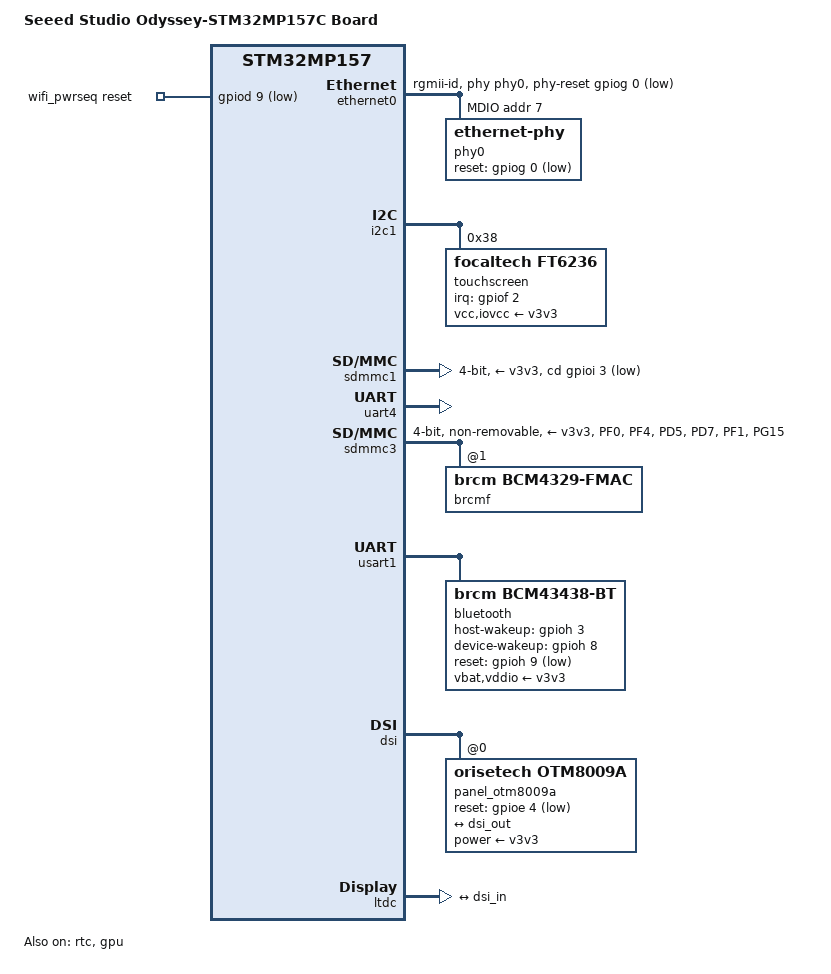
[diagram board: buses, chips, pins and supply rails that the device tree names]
// linux/arch/arm/boot/dts/st/stm32mp157c-odyssey.dts
// SPDX-License-Identifier: (GPL-2.0+ OR BSD-3-Clause)
/*
 * Copyright (C) 2020 Marcin Sloniewski <marcin.sloniewski@gmail.com>.
 */

/dts-v1/;

#include "stm32mp157c-odyssey-som.dtsi"
#include "stm32mp157c-odyssey-scmi.dtsi"
#include <dt-bindings/rtc/rtc-stm32.h>

/ {
	model = "Seeed Studio Odyssey-STM32MP157C Board";
	compatible = "seeed,stm32mp157c-odyssey",
		     "seeed,stm32mp157c-odyssey-som", "st,stm32mp157";

	aliases {
		ethernet0 = &ethernet0;
		serial0 = &uart4;
		serial1 = &usart1;
	};

	chosen {
		#address-cells = <1>;
		#size-cells = <1>;
		ranges;
		stdout-path = "serial0:115200n8";

		framebuffer {
			compatible = "simple-framebuffer";
			clocks = <&rcc LTDC_PX>, <&rcc DSI>, <&rcc DSI_PX>;
			status = "disabled";
		};
	};

	wifi_pwrseq: wifi-pwrseq {
		compatible = "mmc-pwrseq-simple";
		reset-gpios = <&gpiod 9 GPIO_ACTIVE_LOW>;
		post-power-on-delay-ms = <1>;
		status = "okay";
	};
};

&dcmi {
	pinctrl-names = "default", "sleep";
	pinctrl-0 = <&dcmi_pins_b>;
	pinctrl-1 = <&dcmi_sleep_pins_b>;
};

&ethernet0 {
	status = "okay";
	pinctrl-0 = <&ethernet0_rgmii_pins_a>;
	pinctrl-1 = <&ethernet0_rgmii_sleep_pins_a>;
	pinctrl-names = "default", "sleep";
	phy-mode = "rgmii-id";
	max-speed = <1000>;
	phy-handle = <&phy0>;
	st,eth-clk-sel;
	phy-reset-gpios = <&gpiog 0 GPIO_ACTIVE_LOW>;

	mdio0 {
		status = "okay";
		#address-cells = <1>;
		#size-cells = <0>;
		compatible = "snps,dwmac-mdio";

		phy0: ethernet-phy@7 {
			reg = <7>;
			reset-gpios = <&gpiog 0 GPIO_ACTIVE_LOW>;
			reset-assert-us = <11000>;
			reset-deassert-us = <1000>;
		};
	};
};

&i2c1 {
	pinctrl-names = "default", "sleep";
	pinctrl-0 = <&i2c1_pins_b>;
	pinctrl-1 = <&i2c1_sleep_pins_b>;
	i2c-scl-rising-time-ns = <100>;
	i2c-scl-falling-time-ns = <7>;
	status = "okay";
	/delete-property/dmas;
	/delete-property/dma-names;

	touchscreen@38 {
		compatible = "focaltech,ft6236";
		reg = <0x38>;
		interrupts = <2 2>;
		interrupt-parent = <&gpiof>;
		touchscreen-size-x = <480>;
		touchscreen-size-y = <800>;
		vcc-supply = <&v3v3>;
		iovcc-supply = <&v3v3>;
		panel = <&panel_otm8009a>;
		status = "okay";
	};
};

&sdmmc1 {
	pinctrl-names = "default", "opendrain", "sleep";
	pinctrl-0 = <&sdmmc1_b4_pins_a>;
	pinctrl-1 = <&sdmmc1_b4_od_pins_a>;
	pinctrl-2 = <&sdmmc1_b4_sleep_pins_a>;
	cd-gpios = <&gpioi 3 (GPIO_ACTIVE_LOW | GPIO_PULL_UP)>;
	disable-wp;
	st,neg-edge;
	bus-width = <4>;
	vmmc-supply = <&v3v3>;
	status = "okay";
};

&uart4 {
	pinctrl-names = "default";
	pinctrl-0 = <&uart4_pins_a>;
	/delete-property/dmas;
	/delete-property/dma-names;
	status = "okay";
};

&pinctrl {
	// sdmmc3 pin configure
	sdmmc3_b4_pins_s: sdmmc3-b4-1 {
		pins1 {
			pinmux = <STM32_PINMUX('F', 0, AF9)>, /* SDMMC3_D0 */
				<STM32_PINMUX('F', 4, AF9)>, /* SDMMC3_D1 */
				<STM32_PINMUX('D', 5, AF10)>, /* SDMMC3_D2 */
				<STM32_PINMUX('D', 7, AF10)>, /* SDMMC3_D3 */
				<STM32_PINMUX('F', 1, AF9)>; /* SDMMC3_CMD */
			slew-rate = <1>;
			drive-push-pull;
			bias-pull-up;
		};
		pins2 {
			pinmux = <STM32_PINMUX('G', 15, AF10)>; /* SDMMC3_CLK */
			slew-rate = <2>;
			drive-push-pull;
			bias-pull-up;
		};
	};

	sdmmc3_b4_od_pins_s: sdmmc3-b4-od-1 {
		pins1 {
			pinmux = <STM32_PINMUX('F', 0, AF9)>, /* SDMMC3_D0 */
					<STM32_PINMUX('F', 4, AF9)>, /* SDMMC3_D1 */
					<STM32_PINMUX('D', 5, AF10)>, /* SDMMC3_D2 */
					<STM32_PINMUX('D', 7, AF10)>; /* SDMMC3_D3 */
			slew-rate = <1>;
			drive-push-pull;
			bias-pull-up;
		};
		pins2 {
			pinmux = <STM32_PINMUX('G', 15, AF10)>; /* SDMMC3_CLK */
			slew-rate = <2>;
			drive-push-pull;
			bias-pull-up;
		};
		pins3 {
			pinmux = <STM32_PINMUX('F', 1, AF9)>; /* SDMMC2_CMD */
			slew-rate = <1>;
			drive-open-drain;
			bias-pull-up;
		};
	};

	sdmmc3_b4_sleep_pins_s: sdmmc3-b4-sleep-1 {
		pins {
			pinmux = <STM32_PINMUX('F', 0, ANALOG)>, /* SDMMC3_D0 */
					<STM32_PINMUX('F', 4, ANALOG)>, /* SDMMC3_D1 */
					<STM32_PINMUX('D', 5, ANALOG)>, /* SDMMC3_D2 */
					<STM32_PINMUX('D', 7, ANALOG)>, /* SDMMC3_D3 */
					<STM32_PINMUX('G', 15, ANALOG)>, /* SDMMC3_CK */
					<STM32_PINMUX('F', 1, ANALOG)>; /* SDMMC3_CMD */
		};
	};

	rtc_out2_rmp_pins_a: rtc-out2-rmp-pins-0 {
		pins {
			pinmux = <STM32_PINMUX('I', 8, ANALOG)>; /* RTC_OUT2_RMP */
		};
	};
};

&pinctrl_z {
	// usart1 pin configure
	usart1_pins_s: usart1-0 {
		pins1 {
			pinmux = <STM32_PINMUX('Z', 7, AF7)>, /* USART1_TX */
				<STM32_PINMUX('Z', 5, AF7)>; /* USART1_RTS */
			bias-disable;
			drive-push-pull;
			slew-rate = <0>;
		};
		pins2 {
			pinmux = <STM32_PINMUX('Z', 6, AF7)>, /* USART1_RX */
				<STM32_PINMUX('Z', 3, AF7)>; /* USART1_CTS_NSS */
			bias-disable;
		};
	};

	usart1_idle_pins_s: usart1-idle-0 {
		pins1 {
			pinmux = <STM32_PINMUX('Z', 7, ANALOG)>, /* USART1_TX */
				<STM32_PINMUX('Z', 3, ANALOG)>; /* USART1_CTS_NSS */
		};
		pins2 {
			pinmux = <STM32_PINMUX('Z', 5, AF7)>; /* USART1_RTS */
			bias-disable;
			drive-push-pull;
			slew-rate = <0>;
		};
		pins3 {
			pinmux = <STM32_PINMUX('Z', 6, AF7)>; /* USART1_RX */
			bias-disable;
		};
	};

	usart1_sleep_pins_s: usart1-sleep-0 {
		pins {
			pinmux = <STM32_PINMUX('Z', 7, ANALOG)>, /* USART1_TX */
				<STM32_PINMUX('Z', 5, ANALOG)>, /* USART1_RTS */
				<STM32_PINMUX('Z', 6, ANALOG)>, /* USART1_RX */
				<STM32_PINMUX('Z', 3, ANALOG)>; /* USART1_CTS_NSS */
		};
	};
};

/* Wifi */
&sdmmc3 {
	pinctrl-names = "default", "opendrain", "sleep";
	pinctrl-0 = <&sdmmc3_b4_pins_s>;
	pinctrl-1 = <&sdmmc3_b4_od_pins_s>;
	pinctrl-2 = <&sdmmc3_b4_sleep_pins_s>;
	non-removable;
	cap-sdio-irq;
	st,neg-edge;
	bus-width = <4>;
	vmmc-supply = <&v3v3>;
	mmc-pwrseq = <&wifi_pwrseq>;
	#address-cells = <1>;
	#size-cells = <0>;
	status = "okay";

	brcmf: bcrmf@1 {
		reg = <1>;
		compatible = "brcm,bcm4329-fmac";
	};
};

/* Bluetooth */
&usart1 {
	pinctrl-names = "default", "sleep", "idle";
	pinctrl-0 = <&usart1_pins_s>;
	pinctrl-1 = <&usart1_sleep_pins_s>;
	pinctrl-2 = <&usart1_idle_pins_s>;
	uart-has-rtscts;
	status = "okay";

	bluetooth {
		host-wakeup-gpios = <&gpioh 3 GPIO_ACTIVE_HIGH>; /* HOST_WAKE */
		device-wakeup-gpios = <&gpioh 8 GPIO_ACTIVE_HIGH>; /* BT_WAKE */
		reset-gpios = <&gpioh 9 GPIO_ACTIVE_LOW>; /* BT_RST_N */
		compatible = "brcm,bcm43438-bt";
		max-speed = <3000000>;
		vbat-supply = <&v3v3>;
		vddio-supply = <&v3v3>;
	};
};

/* config RTC to provide clk for the AP6236 */
&rtc {
	status = "okay";
	st,lsco = <RTC_OUT2_RMP>;
	pinctrl-names = "default";
	pinctrl-0 = <&rtc_out2_rmp_pins_a>;
};

&gpu {
	status = "okay";
};

/* DSI */
&dsi {
	#address-cells = <1>;
	#size-cells = <0>;
	default-on;
	status = "okay";

	panel_otm8009a: panel-otm8009a@0 {
		compatible = "orisetech,otm8009a";
		reg = <0>;
		reset-gpios = <&gpioe 4 GPIO_ACTIVE_LOW>;
		power-supply = <&v3v3>;
		default-on;
		status = "okay";

		port {
			panel_in: endpoint {
				remote-endpoint = <&dsi_out>;
			};
		};
	};
};

&dsi_in {
	remote-endpoint = <&ltdc_ep0_out>;
};

&dsi_out {
	remote-endpoint = <&panel_in>;
};

&ltdc {
	default-on;
	status = "okay";

	port {
		#address-cells = <1>;
		#size-cells = <0>;

		ltdc_ep0_out: endpoint {
			remote-endpoint = <&dsi_in>;
		};
	};
};
